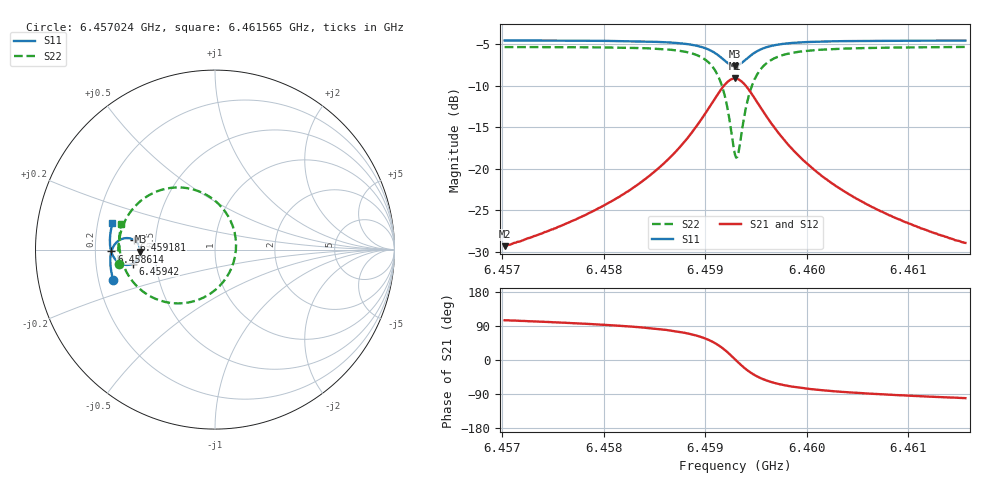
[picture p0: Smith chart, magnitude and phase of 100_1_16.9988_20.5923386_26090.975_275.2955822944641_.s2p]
#  HZ  S  RI  R  50.00
! Rohde & Schwarz Vector Network Analyzer
! Rohde-Schwarz,ZNB20-2Port,1311601062101988,3.16
! Created: UTC 3/20/2024, 10:56:35 PM
! freq[Hz]  re:S11  im:S11  re:S21  im:S21  re:S12  im:S12  re:S22  im:S22
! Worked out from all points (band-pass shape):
!   401 points, 6.457024 GHz to 6.461565 GHz, reference 50 ohm
!   highest |S21| = -9.14 dB at 6.459295 GHz (marker M1); lowest = -29.3 dB at 6.457024 GHz (marker M2)
!   |S21| within 3 dB of the highest: 6.459066 GHz to 6.459521 GHz (454.6 kHz wide, 0.00704 % of centre)
!   lowest |S11| = -7.6 dB at 6.459295 GHz (marker M3), VSWR 2.42, Z = 20.6 - j0.571 ohm
!   |S11| at or under -10 dB: nowhere
!   |S22| runs from -18.7 to -5.3 dB; largest |S21 - S12| = 0.014
!   S11 on the Smith chart (normalised r, x): 6.457024 GHz: 0.26, -0.14; 6.458614 GHz: 0.27, -0.01; 6.459181 GHz: 0.38, +0.05; 6.45942 GHz: 0.37, -0.07; 6.461565 GHz: 0.26, +0.12
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6.4570242e9  -0.5671 -0.1697  -0.00876 0.0329  -0.007 0.0328  -0.5339 -0.0798
6.4577849e9  -0.5807 -0.103  -0.00543 0.0511  -0.00291 0.0505  -0.5385 0.00991
6.4581822e9  -0.5833 -0.0631  0.000172 0.0694  0.00341 0.0681  -0.5305 0.0731
6.4585455e9  -0.5795 -0.0195  0.0149 0.1  0.0189 0.0973  -0.5035 0.1551
6.4586136e9  -0.5771 -0.01  0.0202 0.1085  0.0243 0.1052  -0.4932 0.1753
6.4588066e9  -0.5642 0.0205  0.0473 0.1397  0.0514 0.1347  -0.4426 0.2446
6.4589542e9  -0.5411 0.0468  0.0935 0.1704  0.0968 0.1637  -0.3574 0.309
6.4590905e9  -0.4963 0.0641  0.1823 0.1864  0.1832 0.1792  -0.1954 0.3461
6.4591813e9  -0.4511 0.0531  0.2732 0.1537  0.2735 0.148  -0.0273 0.2926
6.4592494e9  -0.422 0.0201  0.3336 0.0801  0.3358 0.0748  0.0872 0.1596
6.4592948e9  -0.4155 -0.0114  0.3491 0.0113  0.3528 0.00419  0.1174 0.0309
6.4593062e9  -0.416 -0.0196  0.3486 -0.00676  0.3526 -0.0144  0.1163 -0.003
6.4593289e9  -0.4198 -0.0355  0.3425 -0.0417  0.3465 -0.0507  0.1039 -0.0691
6.4593743e9  -0.4358 -0.0617  0.3129 -0.1014  0.3152 -0.1135  0.0442 -0.1817
6.4594197e9  -0.4581 -0.078  0.2702 -0.1422  0.2694 -0.1554  -0.0424 -0.2555
6.4595105e9  -0.5019 -0.0847  0.1848 -0.1726  0.1786 -0.1843  -0.2121 -0.2997
6.4596581e9  -0.5461 -0.0641  0.0965 -0.1583  0.0882 -0.1644  -0.3797 -0.2486
6.459817e9  -0.5678 -0.0365  0.0516 -0.1299  0.044 -0.1327  -0.4599 -0.1761
6.4600555e9  -0.5808 -0.00104  0.0223 -0.098  0.0166 -0.0986  -0.5075 -0.0932
6.460396e9  -0.5853 0.0396  0.00638 -0.071  0.00218 -0.0707  -0.5289 -0.0141
6.4608161e9  -0.5837 0.0821  -0.00143 -0.0523  -0.00431 -0.0516  -0.5332 0.0537
6.4615654e9  -0.572 0.1486  -0.00659 -0.0351  -0.00822 -0.0339  -0.5219 0.1429
